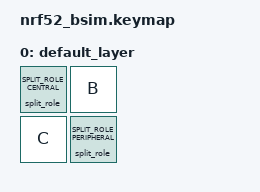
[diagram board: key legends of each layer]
#include <behaviors.dtsi>
#include <dt-bindings/zmk/keys.h>
#include <dt-bindings/zmk/kscan_mock.h>
#include <dt-bindings/zmk/split_role.h>

&kscan {
    /delete-property/ exit-after;
    events =
    <ZMK_MOCK_PRESS(0,0,3000)
    ZMK_MOCK_RELEASE(0,0,200)
    ZMK_MOCK_PRESS(1,1,2000)
    ZMK_MOCK_RELEASE(1,1,200)>;
};
/ {
    keymap {
        compatible = "zmk,keymap";

        default_layer {
            bindings = <
            &split_role SPLIT_ROLE_CENTRAL    &kp B
            &kp C                             &split_role SPLIT_ROLE_PERIPHERAL>;
        };
    };
};
